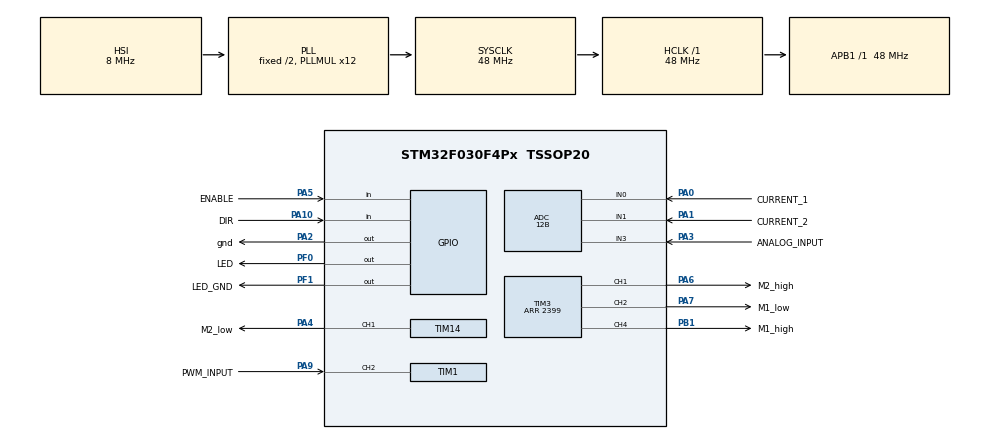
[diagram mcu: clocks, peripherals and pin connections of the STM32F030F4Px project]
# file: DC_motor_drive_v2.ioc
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ADC.ClockPrescaler=ADC_CLOCK_ASYNC_DIV1
ADC.ContinuousConvMode=ENABLE
ADC.DMAContinuousRequests=ENABLE
ADC.DataAlign=ADC_DATAALIGN_RIGHT
ADC.DiscontinuousConvMode=DISABLE
ADC.EOCSelection=ADC_EOC_SINGLE_CONV
ADC.EnableAnalogWatchDog=false
ADC.ExternalTrigConvEdge=ADC_EXTERNALTRIGCONVEDGE_NONE
ADC.LowPowerAutoPowerOff=DISABLE
ADC.LowPowerAutoWait=DISABLE
ADC.Overrun=ADC_OVR_DATA_PRESERVED
ADC.Resolution=ADC_RESOLUTION_12B
ADC.SamplingTime=ADC_SAMPLETIME_1CYCLE_5
ADC.ScanConvMode=ADC_SCAN_DIRECTION_FORWARD
Dma.ADC.0.Direction=DMA_PERIPH_TO_MEMORY
Dma.ADC.0.Instance=DMA1_Channel1
Dma.ADC.0.MemDataAlignment=DMA_MDATAALIGN_HALFWORD
Dma.ADC.0.MemInc=DMA_MINC_ENABLE
Dma.ADC.0.Mode=DMA_CIRCULAR
Dma.ADC.0.PeriphDataAlignment=DMA_PDATAALIGN_HALFWORD
Dma.ADC.0.PeriphInc=DMA_PINC_DISABLE
Dma.ADC.0.Priority=DMA_PRIORITY_MEDIUM
Dma.Request0=ADC
Mcu.Family=STM32F0
Mcu.Name=STM32F030F4Px
Mcu.Package=TSSOP20
NVIC.DMA1_Channel1_IRQn=true\:2\:0\:true\:false\:true
NVIC.TIM17_IRQn=true\:1\:0\:true\:false\:true
PA0.GPIO_Label=CURRENT_1
PA0.Mode=IN0
PA0.Signal=ADC_IN0
PA1.GPIO_Label=CURRENT_2
PA1.Mode=IN1
PA1.Signal=ADC_IN1
PA10.GPIO_Label=DIR
PA10.GPIO_PuPd=GPIO_PULLDOWN
PA10.Signal=GPIO_Input
PA13.Mode=Serial-WireDebug
PA13.Signal=SYS_SWDIO
PA14.Mode=Serial-WireDebug
PA14.Signal=SYS_SWCLK
PA2.GPIO_Label=gnd
PA2.Signal=GPIO_Output
PA3.GPIO_Label=ANALOG_INPUT
PA3.Mode=IN3
PA3.Signal=ADC_IN3
PA4.GPIO_Label=M2_low
PA4.Signal=S_TIM14_CH1
PA5.GPIO_Label=ENABLE
PA5.GPIO_PuPd=GPIO_PULLDOWN
PA5.Signal=GPIO_Input
PA6.GPIO_Label=M2_high
PA6.Signal=S_TIM3_CH1
PA7.GPIO_Label=M1_low
PA7.Signal=S_TIM3_CH2
PA9.GPIO_Label=PWM_INPUT
PA9.Signal=S_TIM1_CH2
PB1.GPIO_Label=M1_high
PB1.Signal=S_TIM3_CH4
PF0-OSC_IN.GPIO_Label=LED
PF0-OSC_IN.Signal=GPIO_Output
PF1-OSC_OUT.GPIO_Label=LED_GND
PF1-OSC_OUT.Signal=GPIO_Output
ProjectManager.TargetToolchain=MDK-ARM V5
RCC.AHBFreq_Value=48000000
RCC.APB1Freq_Value=48000000
RCC.APB1TimFreq_Value=48000000
RCC.HCLKFreq_Value=48000000
RCC.PLLMUL=RCC_PLL_MUL12
RCC.SYSCLKFreq_VALUE=48000000
RCC.SYSCLKSource=RCC_SYSCLKSOURCE_PLLCLK
SH.S_TIM14_CH1.0=TIM14_CH1,PWM Generation1 CH1
SH.S_TIM1_CH2.0=TIM1_CH2,PWM_Input_2
SH.S_TIM3_CH1.0=TIM3_CH1,PWM Generation1 CH1
SH.S_TIM3_CH2.0=TIM3_CH2,PWM Generation2 CH2
SH.S_TIM3_CH4.0=TIM3_CH4,PWM Generation4 CH4
TIM1.ICFilter_1=2
TIM1.ICFilter_2=2
TIM14.OCMode_PWM=TIM_OCMODE_PWM1
TIM14.OCPolarity_1=TIM_OCPOLARITY_HIGH
TIM14.Period=2399
TIM17.Period=99
TIM17.Prescaler=47
TIM3.Channel-PWM\ Generation2\ CH2=TIM_CHANNEL_2
TIM3.Channel-PWM\ Generation4\ CH4=TIM_CHANNEL_4
TIM3.OCMode_PWM-PWM\ Generation1\ CH1=TIM_OCMODE_PWM1
TIM3.OCMode_PWM-PWM\ Generation2\ CH2=TIM_OCMODE_PWM1
TIM3.OCMode_PWM-PWM\ Generation4\ CH4=TIM_OCMODE_PWM1
TIM3.OCPolarity_1=TIM_OCPOLARITY_HIGH
TIM3.OCPolarity_2=TIM_OCPOLARITY_HIGH
TIM3.OCPolarity_4=TIM_OCPOLARITY_HIGH
TIM3.Period=2399
VP_TIM14_VS_ClockSourceINT.Mode=Enable_Timer
VP_TIM17_VS_ClockSourceINT.Mode=Enable_Timer
board=DC_motor_drive_v2

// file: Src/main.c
/**
  ******************************************************************************
  * File Name          : main.c
  * Description        : Main program body
  ******************************************************************************
  *
  * COPYRIGHT(c) 2015 STMicroelectronics
  *
  * Redistribution and use in source and binary forms, with or without modification,
  * are permitted provided that the following conditions are met:
  *   1. Redistributions of source code must retain the above copyright notice,
  *      this list of conditions and the following disclaimer.
  *   2. Redistributions in binary form must reproduce the above copyright notice,
  *      this list of conditions and the following disclaimer in the documentation
  *      and/or other materials provided with the distribution.
  *   3. Neither the name of STMicroelectronics nor the names of its contributors
  *      may be used to endorse or promote products derived from this software
  *      without specific prior written permission.
  *
  * THIS SOFTWARE IS PROVIDED BY THE COPYRIGHT HOLDERS AND CONTRIBUTORS "AS IS"
  * AND ANY EXPRESS OR IMPLIED WARRANTIES, INCLUDING, BUT NOT LIMITED TO, THE
  * IMPLIED WARRANTIES OF MERCHANTABILITY AND FITNESS FOR A PARTICULAR PURPOSE ARE
  * DISCLAIMED. IN NO EVENT SHALL THE COPYRIGHT HOLDER OR CONTRIBUTORS BE LIABLE
  * FOR ANY DIRECT, INDIRECT, INCIDENTAL, SPECIAL, EXEMPLARY, OR CONSEQUENTIAL
  * DAMAGES (INCLUDING, BUT NOT LIMITED TO, PROCUREMENT OF SUBSTITUTE GOODS OR
  * SERVICES; LOSS OF USE, DATA, OR PROFITS; OR BUSINESS INTERRUPTION) HOWEVER
  * CAUSED AND ON ANY THEORY OF LIABILITY, WHETHER IN CONTRACT, STRICT LIABILITY,
  * OR TORT (INCLUDING NEGLIGENCE OR OTHERWISE) ARISING IN ANY WAY OUT OF THE USE
  * OF THIS SOFTWARE, EVEN IF ADVISED OF THE POSSIBILITY OF SUCH DAMAGE.
  *
  ******************************************************************************
  */
#include "stm32f0xx_hal.h"

/* USER CODE BEGIN Includes */
#define sen_amp   0.02014160145f
#define sen_input 0.00732421875f   				//0-30amp

#define Kp   6.25f
#define Ki   0.2f
/* USER CODE END Includes */

ADC_HandleTypeDef hadc;
DMA_HandleTypeDef hdma_adc;

TIM_HandleTypeDef htim1;
TIM_HandleTypeDef htim3;
TIM_HandleTypeDef htim14;
TIM_HandleTypeDef htim17;

/* USER CODE BEGIN PV */
/* Private variables ---------------------------------------------------------*/
uint16_t RAW_adc[9] = {0};

float current = 0;
float ref_control = 0;

float error = 0;
float error_sum = 0;
float output = 0;

/* USER CODE END PV */

void SystemClock_Config(void);
static void MX_GPIO_Init(void);
static void MX_DMA_Init(void);
static void MX_ADC_Init(void);
static void MX_TIM1_Init(void);
static void MX_TIM3_Init(void);
static void MX_TIM14_Init(void);
static void MX_TIM17_Init(void);

/* USER CODE BEGIN PFP */
/* Private function prototypes -----------------------------------------------*/

void motor_drive(float value);	// 0-100 input rank
void sampling(void);
/* USER CODE END PFP */

int main(void)
{

  /* MCU Configuration----------------------------------------------------------*/

  /* Reset of all peripherals, Initializes the Flash interface and the Systick. */
  HAL_Init();

  /* Configure the system clock */
  SystemClock_Config();

  /* Initialize all configured peripherals */
  MX_GPIO_Init();
  MX_DMA_Init();
  MX_ADC_Init();
  MX_TIM1_Init();
  MX_TIM3_Init();
  MX_TIM14_Init();
  MX_TIM17_Init();

  /* USER CODE BEGIN 2 */
	HAL_ADC_Start_DMA(&hadc, (uint32_t*)RAW_adc, 9);

	HAL_TIM_PWM_Start(&htim14, TIM_CHANNEL_1);
	HAL_TIM_PWM_Start(&htim3, TIM_CHANNEL_1);
	HAL_TIM_PWM_Start(&htim3, TIM_CHANNEL_2);
	HAL_TIM_PWM_Start(&htim3, TIM_CHANNEL_4);
	HAL_Delay(100);

	HAL_TIM_Base_Start_IT(&htim17);

  /* USER CODE END 2 */

  /* Infinite loop */
  while (1)
  {

  /* USER CODE BEGIN 3 */

		HAL_Delay(1000);
//		HAL_GPIO_TogglePin(LED_GPIO_Port, LED_Pin);

//		HAL_Delay(10);
//		HAL_GPIO_TogglePin(LED_GPIO_Port, LED_Pin);

  }
  /* USER CODE END 3 */

}

/** System Clock Configuration
*/
void SystemClock_Config(void)
{

  RCC_OscInitTypeDef RCC_OscInitStruct;
  RCC_ClkInitTypeDef RCC_ClkInitStruct;

  RCC_OscInitStruct.OscillatorType = RCC_OSCILLATORTYPE_HSI|RCC_OSCILLATORTYPE_HSI14;
  RCC_OscInitStruct.HSIState = RCC_HSI_ON;
  RCC_OscInitStruct.HSI14State = RCC_HSI14_ON;
  RCC_OscInitStruct.HSICalibrationValue = 16;
  RCC_OscInitStruct.HSI14CalibrationValue = 16;
  RCC_OscInitStruct.PLL.PLLState = RCC_PLL_ON;
  RCC_OscInitStruct.PLL.PLLSource = RCC_PLLSOURCE_HSI;
  RCC_OscInitStruct.PLL.PLLMUL = RCC_PLL_MUL12;
  RCC_OscInitStruct.PLL.PREDIV = RCC_PREDIV_DIV1;
  HAL_RCC_OscConfig(&RCC_OscInitStruct);

  RCC_ClkInitStruct.ClockType = RCC_CLOCKTYPE_SYSCLK;
  RCC_ClkInitStruct.SYSCLKSource = RCC_SYSCLKSOURCE_PLLCLK;
  RCC_ClkInitStruct.AHBCLKDivider = RCC_SYSCLK_DIV1;
  RCC_ClkInitStruct.APB1CLKDivider = RCC_HCLK_DIV1;
  HAL_RCC_ClockConfig(&RCC_ClkInitStruct, FLASH_LATENCY_1);

  HAL_SYSTICK_Config(HAL_RCC_GetHCLKFreq()/1000);

  HAL_SYSTICK_CLKSourceConfig(SYSTICK_CLKSOURCE_HCLK);

  /* SysTick_IRQn interrupt configuration */
  HAL_NVIC_SetPriority(SysTick_IRQn, 0, 0);
}

/* ADC init function */
void MX_ADC_Init(void)
{

  ADC_ChannelConfTypeDef sConfig;

    /**Configure the global features of the ADC (Clock, Resolution, Data Alignment and number of conversion)
    */
  hadc.Instance = ADC1;
  hadc.Init.ClockPrescaler = ADC_CLOCK_ASYNC;
  hadc.Init.Resolution = ADC_RESOLUTION12b;
  hadc.Init.DataAlign = ADC_DATAALIGN_RIGHT;
  hadc.Init.ScanConvMode = ADC_SCAN_DIRECTION_FORWARD;
  hadc.Init.EOCSelection = EOC_SINGLE_CONV;
  hadc.Init.LowPowerAutoWait = DISABLE;
  hadc.Init.LowPowerAutoPowerOff = DISABLE;
  hadc.Init.ContinuousConvMode = ENABLE;
  hadc.Init.DiscontinuousConvMode = DISABLE;
  hadc.Init.ExternalTrigConvEdge = ADC_EXTERNALTRIGCONVEDGE_NONE;
  hadc.Init.DMAContinuousRequests = ENABLE;
  hadc.Init.Overrun = OVR_DATA_PRESERVED;
  HAL_ADC_Init(&hadc);

    /**Configure for the selected ADC regular channel to be converted.
    */
  sConfig.Channel = ADC_CHANNEL_0;
  sConfig.Rank = ADC_RANK_CHANNEL_NUMBER;
  sConfig.SamplingTime = ADC_SAMPLETIME_1CYCLE_5;
  HAL_ADC_ConfigChannel(&hadc, &sConfig);

    /**Configure for the selected ADC regular channel to be converted.
    */
  sConfig.Channel = ADC_CHANNEL_1;
  HAL_ADC_ConfigChannel(&hadc, &sConfig);

    /**Configure for the selected ADC regular channel to be converted.
    */
  sConfig.Channel = ADC_CHANNEL_3;
  HAL_ADC_ConfigChannel(&hadc, &sConfig);

}

/* TIM1 init function */
void MX_TIM1_Init(void)
{

  TIM_SlaveConfigTypeDef sSlaveConfig;
  TIM_IC_InitTypeDef sConfigIC;
  TIM_MasterConfigTypeDef sMasterConfig;

  htim1.Instance = TIM1;
  htim1.Init.Prescaler = 0;
  htim1.Init.CounterMode = TIM_COUNTERMODE_UP;
  htim1.Init.Period = 0;
  htim1.Init.ClockDivision = TIM_CLOCKDIVISION_DIV1;
  htim1.Init.RepetitionCounter = 0;
  HAL_TIM_IC_Init(&htim1);

  sSlaveConfig.SlaveMode = TIM_SLAVEMODE_RESET;
  sSlaveConfig.InputTrigger = TIM_TS_TI2FP2;
  sSlaveConfig.TriggerPolarity = TIM_INPUTCHANNELPOLARITY_FALLING;
  sSlaveConfig.TriggerPrescaler = TIM_ICPSC_DIV1;
  sSlaveConfig.TriggerFilter = 2;
  HAL_TIM_SlaveConfigSynchronization(&htim1, &sSlaveConfig);

  sConfigIC.ICPolarity = TIM_INPUTCHANNELPOLARITY_RISING;
  sConfigIC.ICSelection = TIM_ICSELECTION_INDIRECTTI;
  sConfigIC.ICPrescaler = TIM_ICPSC_DIV1;
  sConfigIC.ICFilter = 2;
  HAL_TIM_IC_ConfigChannel(&htim1, &sConfigIC, TIM_CHANNEL_1);

  sConfigIC.ICPolarity = TIM_INPUTCHANNELPOLARITY_FALLING;
  sConfigIC.ICSelection = TIM_ICSELECTION_DIRECTTI;
  HAL_TIM_IC_ConfigChannel(&htim1, &sConfigIC, TIM_CHANNEL_2);

  sMasterConfig.MasterOutputTrigger = TIM_TRGO_RESET;
  sMasterConfig.MasterSlaveMode = TIM_MASTERSLAVEMODE_DISABLE;
  HAL_TIMEx_MasterConfigSynchronization(&htim1, &sMasterConfig);

}

/* TIM3 init function */
void MX_TIM3_Init(void)
{

  TIM_MasterConfigTypeDef sMasterConfig;
  TIM_OC_InitTypeDef sConfigOC;

  htim3.Instance = TIM3;
  htim3.Init.Prescaler = 0;
  htim3.Init.CounterMode = TIM_COUNTERMODE_UP;
  htim3.Init.Period = 2399;
  htim3.Init.ClockDivision = TIM_CLOCKDIVISION_DIV1;
  HAL_TIM_PWM_Init(&htim3);

  sMasterConfig.MasterOutputTrigger = TIM_TRGO_RESET;
  sMasterConfig.MasterSlaveMode = TIM_MASTERSLAVEMODE_DISABLE;
  HAL_TIMEx_MasterConfigSynchronization(&htim3, &sMasterConfig);

  sConfigOC.OCMode = TIM_OCMODE_PWM1;
  sConfigOC.Pulse = 0;
  sConfigOC.OCPolarity = TIM_OCPOLARITY_HIGH;
  sConfigOC.OCFastMode = TIM_OCFAST_DISABLE;
  HAL_TIM_PWM_ConfigChannel(&htim3, &sConfigOC, TIM_CHANNEL_1);

  HAL_TIM_PWM_ConfigChannel(&htim3, &sConfigOC, TIM_CHANNEL_2);

  HAL_TIM_PWM_ConfigChannel(&htim3, &sConfigOC, TIM_CHANNEL_4);

}

/* TIM14 init function */
void MX_TIM14_Init(void)
{

  TIM_OC_InitTypeDef sConfigOC;

  htim14.Instance = TIM14;
  htim14.Init.Prescaler = 0;
  htim14.Init.CounterMode = TIM_COUNTERMODE_UP;
  htim14.Init.Period = 2399;
  htim14.Init.ClockDivision = TIM_CLOCKDIVISION_DIV1;
  HAL_TIM_Base_Init(&htim14);

  HAL_TIM_PWM_Init(&htim14);

  sConfigOC.OCMode = TIM_OCMODE_PWM1;
  sConfigOC.Pulse = 0;
  sConfigOC.OCPolarity = TIM_OCPOLARITY_HIGH;
  sConfigOC.OCFastMode = TIM_OCFAST_DISABLE;
  HAL_TIM_PWM_ConfigChannel(&htim14, &sConfigOC, TIM_CHANNEL_1);

}

/* TIM17 init function */
void MX_TIM17_Init(void)
{

  htim17.Instance = TIM17;
  htim17.Init.Prescaler = 47;
  htim17.Init.CounterMode = TIM_COUNTERMODE_UP;
  htim17.Init.Period = 99;
  htim17.Init.ClockDivision = TIM_CLOCKDIVISION_DIV1;
  htim17.Init.RepetitionCounter = 0;
  HAL_TIM_Base_Init(&htim17);

}

void MX_DMA_Init(void)
{
  /* DMA controller clock enable */
  __DMA1_CLK_ENABLE();

  /* DMA interrupt init */
  HAL_NVIC_SetPriority(DMA1_Channel1_IRQn, 2, 0);
  HAL_NVIC_EnableIRQ(DMA1_Channel1_IRQn);

}

/** Configure pins as
        * Analog
        * Input
        * Output
        * EVENT_OUT
        * EXTI
*/
void MX_GPIO_Init(void)
{

  GPIO_InitTypeDef GPIO_InitStruct;

  /* GPIO Ports Clock Enable */
  __GPIOF_CLK_ENABLE();
  __GPIOA_CLK_ENABLE();
  __GPIOB_CLK_ENABLE();

  /*Configure GPIO pins : LED_Pin LED_GND_Pin */
  GPIO_InitStruct.Pin = LED_Pin|LED_GND_Pin;
  GPIO_InitStruct.Mode = GPIO_MODE_OUTPUT_PP;
  GPIO_InitStruct.Pull = GPIO_NOPULL;
  GPIO_InitStruct.Speed = GPIO_SPEED_LOW;
  HAL_GPIO_Init(GPIOF, &GPIO_InitStruct);

  /*Configure GPIO pin : gnd_Pin */
  GPIO_InitStruct.Pin = gnd_Pin;
  GPIO_InitStruct.Mode = GPIO_MODE_OUTPUT_PP;
  GPIO_InitStruct.Pull = GPIO_NOPULL;
  GPIO_InitStruct.Speed = GPIO_SPEED_LOW;
  HAL_GPIO_Init(gnd_GPIO_Port, &GPIO_InitStruct);

  /*Configure GPIO pins : ENABLE_Pin DIR_Pin */
  GPIO_InitStruct.Pin = ENABLE_Pin|DIR_Pin;
  GPIO_InitStruct.Mode = GPIO_MODE_INPUT;
  GPIO_InitStruct.Pull = GPIO_PULLDOWN;
  HAL_GPIO_Init(GPIOA, &GPIO_InitStruct);

}

/* USER CODE BEGIN 4 */
void sampling(void)
{
	//HAL_GPIO_TogglePin(LED_GPIO_Port, LED_Pin);

	current = 3045.0f - ((float)RAW_adc[0]+(float)RAW_adc[1]+(float)RAW_adc[3]+(float)RAW_adc[4]+(float)RAW_adc[6]+(float)RAW_adc[7])*0.166666666667f;
	ref_control = ((float)RAW_adc[2] +(float)RAW_adc[5] +(float)RAW_adc[8])*0.333333333333f;

	current *= sen_amp;  				//map raw to amp

	ref_control *= sen_input;
	ref_control -= 1 ;

	if (ref_control < 1) ref_control = 0;

//	static uint16_t count;
//	count++;
//	if(count > 40000) count = 0;
//										if( count < 20000)
//										{
//											ref_control = 0.3f;
//										}
//										else
//										{
//											ref_control = 0.7f;
//										}

	error = ref_control - current;

//	float percent_error = error/ref_control;
//	if (percent_error < 0.05f || percent_error > -0.05f)
//	{
//		HAL_GPIO_WritePin(LED_GPIO_Port, LED_Pin, GPIO_PIN_SET);
//	}else{
//		HAL_GPIO_WritePin(LED_GPIO_Port, LED_Pin, GPIO_PIN_RESET);
//	}

//	error_sum += error;

		if (error > 0)
		{
			error_sum += 1;
		}else{
			error_sum -= 1;
		}

	if (error_sum > 100.0f)  error_sum =  100.0f;
	if (error_sum < -100.0f) error_sum = -100.0f;

//	output =  Kp*error + Ki*error_sum;
//	if (output < 0.0f) output = 0.0f;
	output = error_sum;

	if(HAL_GPIO_ReadPin(ENABLE_GPIO_Port, ENABLE_Pin) == GPIO_PIN_RESET)
	{
		error_sum = 0;
 		output = 0;
	}

	if(HAL_GPIO_ReadPin(DIR_GPIO_Port, DIR_Pin) == GPIO_PIN_SET)
	{
		output = -output;
	}

//	if (output > 25) output = 25;
//	if (output < -25) output = -25;

//	output = -30;
	motor_drive(output)	;

	//HAL_GPIO_TogglePin(LED_GPIO_Port, LED_Pin);
}

void motor_drive(float value)	// -100 - 100 input rank
{
	static uint8_t status;
	static float  value_prev;

//	if ((value > 0)!=(value_prev > 0)) status = 50;

	float _output = value * 23.0f;

	if ((value < 5)&&(value > -5)) _output = 0;

	if (_output < 0) _output = -_output;

	if (_output > 2300) _output = 2300;

//	if (status == 0)
//	{
		if (value > 0)
		{
			TIM3->CCR4 = 0;
//			TIM3->CCR2 = 0;
//			TIM3->CCR1 = 0;
			TIM14->CCR1 = 0;

			TIM3->CNT = 0;
			TIM14->CNT = 0;

			TIM3->CCR1 = _output;
			TIM3->CCR2 = 2300;					//  low side
		}
		else
		{
//			TIM3->CCR4 = 0;
			TIM3->CCR2 = 0;
			TIM3->CCR1 = 0;
//			TIM14->CCR1 = 0;

			TIM3->CNT = 0;
			TIM14->CNT = 0;

			TIM3->CCR4 = _output;
			TIM14->CCR1 = 2300;					// 	low side
		}
//	}
//	else
//	{

//		TIM3->CCR4 = 0;
//		TIM3->CCR2 = 0;
//		TIM3->CCR1 = 0;
//		TIM14->CCR1 = 0;
//		TIM3->CNT = 0;
//		TIM14->CNT = 0;
//
//		error_sum = 0;
//
//		status--;
//	}
	value_prev = value;
}
/* USER CODE END 4 */

#ifdef USE_FULL_ASSERT

/**
   * @brief Reports the name of the source file and the source line number
   * where the assert_param error has occurred.
   * @param file: pointer to the source file name
   * @param line: assert_param error line source number
   * @retval None
   */
void assert_failed(uint8_t* file, uint32_t line)
{
  /* USER CODE BEGIN 6 */
  /* User can add his own implementation to report the file name and line number,
    ex: printf("Wrong parameters value: file %s on line %d\r\n", file, line) */

		TIM3->CCR4 = 0;
		TIM3->CCR2 = 0;
		TIM3->CCR1 = 0;
		TIM14->CCR1 = 0;

		TIM3->CNT = 0;
		TIM14->CNT = 0;

  /* USER CODE END 6 */

}

#endif

/************************ (C) COPYRIGHT STMicroelectronics *****END OF FILE****/
